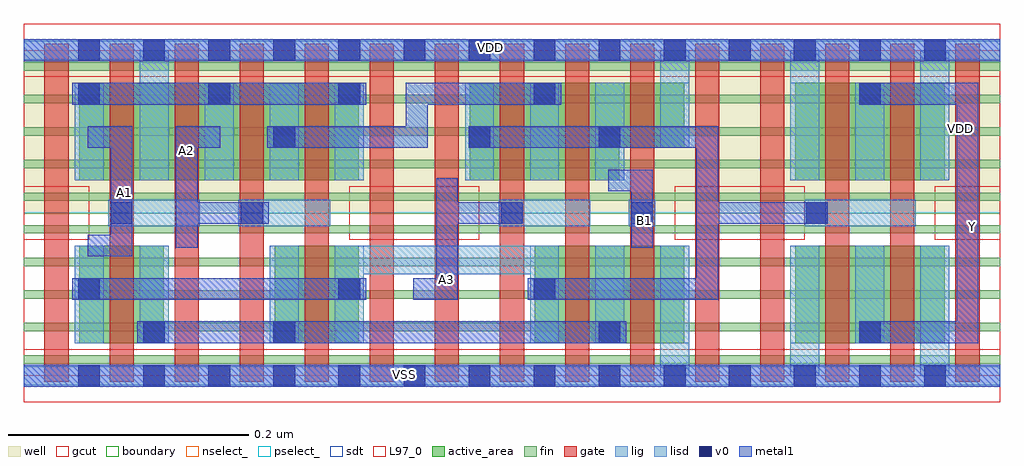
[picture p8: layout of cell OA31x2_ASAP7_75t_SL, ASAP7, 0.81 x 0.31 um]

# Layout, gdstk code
import gdstk
lib = gdstk.Library(unit=1e-6, precision=2.5e-10)
def R(c, l, rs):  # rectangles x0, y0, x1, y1
    for r in rs: c.add(gdstk.rectangle(r[:2], r[2:], *l))
def A(c, l, x, y, w, h, nx, ny, dx, dy):  # array of equal rectangles
    R(c, l, [(x+i*dx, y+j*dy, x+i*dx+w, y+j*dy+h) for i in range(nx) for j in range(ny)])
def P(c, l, *ps):  # polygons
    for p in ps: c.add(gdstk.Polygon(p, *l))
well = (1, 0)
fin = (2, 0)
gate = (7, 0)
gcut = (10, 0)
active_area = (11, 0)
nselect_ = (12, 0)
pselect_ = (13, 0)
lig = (16, 0)
lisd = (17, 0)
v0 = (18, 0)
metal1 = (19, 0)
sdt = (88, 0)
L97_0 = (97, 0)
boundary = (100, 0)

oa31x2_asap7_75t_sl = lib.new_cell('OA31x2_ASAP7_75t_SL')
R(oa31x2_asap7_75t_sl, well, [(0,0.135,0.81,0.27)])
A(oa31x2_asap7_75t_sl, fin, 0, 0.01, 0.81, 0.007, 1, 10, 0, 0.027)
A(oa31x2_asap7_75t_sl, gate, 0.017, -0.005, 0.02, 0.2805, 15, 1, 0.054, 0)
R(oa31x2_asap7_75t_sl, gcut, [(0,-0.022,0.81,0.022), (0,0.113,0.054,0.157), (0.27,0.113,0.378,0.157), (0.54,0.113,0.648,0.157), (0.756,0.113,0.81,0.157), (0,0.248,0.81,0.292)])
R(oa31x2_asap7_75t_sl, active_area, [(0.046,0.027,0.116,0.108), (0.208,0.027,0.278,0.108), (0.424,0.027,0.548,0.108), (0.64,0.027,0.764,0.108), (0.046,0.162,0.278,0.243), (0.64,0.162,0.764,0.243)])
P(oa31x2_asap7_75t_sl, active_area, [(0.548,0.243),(0.37,0.243),(0.37,0.162),(0.494,0.162),(0.494,0.189),(0.548,0.189)])
R(oa31x2_asap7_75t_sl, nselect_, [(0,0,0.81,0.135)])
R(oa31x2_asap7_75t_sl, pselect_, [(0,0.135,0.81,0.27)])
R(oa31x2_asap7_75t_sl, lig, [(0,-0.008,0.81,0.008), (0.07,0.124,0.146,0.146), (0.178,0.124,0.254,0.146), (0.394,0.124,0.47,0.146), (0.502,0.124,0.524,0.146), (0.648,0.124,0.74,0.146), (0,0.262,0.81,0.278)])
A(oa31x2_asap7_75t_sl, lisd, 0.528, 0, 0.024, 0.108, 3, 1, 0.108, 0)
A(oa31x2_asap7_75t_sl, lisd, 0.15, 0.162, 0.024, 0.081, 3, 1, 0.054, 0)
A(oa31x2_asap7_75t_sl, lisd, 0.366, 0.162, 0.024, 0.081, 3, 1, 0.054, 0)
R(oa31x2_asap7_75t_sl, lisd, [(0.042,0.027,0.066,0.108), (0.096,0.027,0.12,0.108), (0.204,0.027,0.228,0.108), (0.474,0.027,0.498,0.108), (0.69,0.027,0.714,0.108), (0.042,0.162,0.066,0.243), (0.096,0.162,0.12,0.27), (0.636,0.162,0.66,0.27), (0.69,0.162,0.714,0.243), (0.744,0.162,0.768,0.27), (0.528,0.189,0.552,0.27)])
P(oa31x2_asap7_75t_sl, lisd, [(0.444,0.108),(0.258,0.108),(0.258,0.027),(0.282,0.027),(0.282,0.084),(0.42,0.084),(0.42,0.027),(0.444,0.027)])
A(oa31x2_asap7_75t_sl, v0, 0.045, -0.009, 0.018, 0.018, 14, 2, 0.054, 0.27)
A(oa31x2_asap7_75t_sl, v0, 0.045, 0.225, 0.018, 0.018, 3, 1, 0.108, 0)
R(oa31x2_asap7_75t_sl, v0, [(0.099,0.027,0.117,0.045), (0.207,0.027,0.225,0.045), (0.477,0.027,0.495,0.045), (0.693,0.027,0.711,0.045), (0.045,0.063,0.063,0.081), (0.261,0.063,0.279,0.081), (0.423,0.063,0.441,0.081), (0.072,0.126,0.09,0.144), (0.18,0.126,0.198,0.144), (0.396,0.126,0.414,0.144), (0.504,0.126,0.522,0.144), (0.649,0.126,0.667,0.144), (0.207,0.189,0.225,0.207), (0.369,0.189,0.387,0.207), (0.477,0.189,0.495,0.207), (0.423,0.225,0.441,0.243), (0.693,0.225,0.711,0.243)])
R(oa31x2_asap7_75t_sl, metal1, [(0,-0.009,0.81,0.009), (0.094,0.027,0.5,0.045), (0.04,0.063,0.284,0.081), (0.04,0.225,0.284,0.243), (0,0.261,0.81,0.279)])
P(oa31x2_asap7_75t_sl, metal1, [(0.09,0.207),(0.053,0.207),(0.053,0.189),(0.072,0.189),(0.072,0.117),(0.053,0.117),(0.053,0.099),(0.09,0.099)],
  [(0.203,0.144),(0.144,0.144),(0.144,0.189),(0.163,0.189),(0.163,0.207),(0.126,0.207),(0.126,0.106),(0.144,0.106),(0.144,0.126),(0.203,0.126)],
  [(0.414,0.144),(0.36,0.144),(0.36,0.164),(0.342,0.164),(0.342,0.081),(0.323,0.081),(0.323,0.063),(0.36,0.063),(0.36,0.126),(0.414,0.126)],
  [(0.446,0.243),(0.317,0.243),(0.317,0.207),(0.202,0.207),(0.202,0.189),(0.335,0.189),(0.335,0.225),(0.446,0.225)],
  [(0.522,0.171),(0.485,0.171),(0.485,0.153),(0.504,0.153),(0.504,0.106),(0.522,0.106)],
  [(0.667,0.144),(0.576,0.144),(0.576,0.207),(0.369,0.207),(0.369,0.189),(0.558,0.189),(0.558,0.081),(0.418,0.081),(0.418,0.063),(0.576,0.063),(0.576,0.126),(0.667,0.126)],
  [(0.792,0.243),(0.693,0.243),(0.693,0.225),(0.774,0.225),(0.774,0.045),(0.693,0.045),(0.693,0.027),(0.792,0.027)])
A(oa31x2_asap7_75t_sl, sdt, 0.42, 0.027, 0.024, 0.081, 3, 1, 0.054, 0)
A(oa31x2_asap7_75t_sl, sdt, 0.636, 0.027, 0.024, 0.081, 3, 2, 0.054, 0.135)
A(oa31x2_asap7_75t_sl, sdt, 0.042, 0.162, 0.024, 0.081, 5, 1, 0.054, 0)
A(oa31x2_asap7_75t_sl, sdt, 0.366, 0.162, 0.024, 0.081, 3, 1, 0.054, 0)
R(oa31x2_asap7_75t_sl, sdt, [(0.042,0.027,0.066,0.108), (0.096,0.027,0.12,0.108), (0.204,0.027,0.228,0.108), (0.258,0.027,0.282,0.108), (0.528,0.189,0.552,0.243)])
R(oa31x2_asap7_75t_sl, L97_0, [(0,0,0.81,0.27)])
R(oa31x2_asap7_75t_sl, boundary, [(0,0,0.81,0.27)])
oa31x2_asap7_75t_sl.add(gdstk.Label('A3', (0.351,0.08), layer=19, texttype=251))
oa31x2_asap7_75t_sl.add(gdstk.Label('Y', (0.787,0.1235), layer=19, texttype=251))
oa31x2_asap7_75t_sl.add(gdstk.Label('VSS', (0.316,0.001), layer=19, texttype=251))
oa31x2_asap7_75t_sl.add(gdstk.Label('VDD', (0.387,0.272), layer=19, texttype=251))
oa31x2_asap7_75t_sl.add(gdstk.Label('A2', (0.135,0.187), layer=19, texttype=251))
oa31x2_asap7_75t_sl.add(gdstk.Label('B1', (0.515,0.129), layer=19, texttype=251))
oa31x2_asap7_75t_sl.add(gdstk.Label('A1', (0.083,0.152), layer=19, texttype=251))
oa31x2_asap7_75t_sl.add(gdstk.Label('VDD', (0.777,0.205), layer=1, texttype=251))
oa31x2_asap7_75t_sl.add(gdstk.Label('VSS', (0.846,0.204), layer=3, texttype=251))

lib.write_gds('OA31x2_ASAP7_75t_SL.gds')
